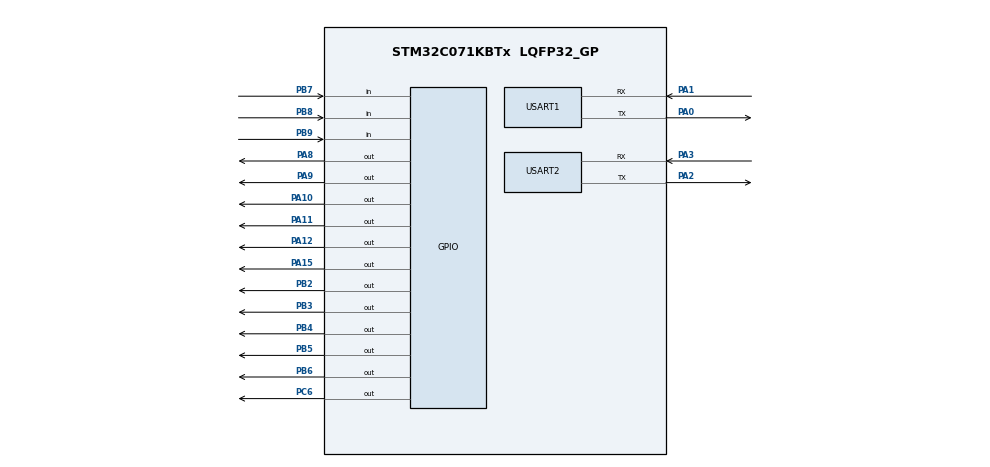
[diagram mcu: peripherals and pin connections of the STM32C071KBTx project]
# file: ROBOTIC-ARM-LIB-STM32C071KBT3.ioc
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Mcu.Family=STM32C0
Mcu.Name=STM32C071KBTx
Mcu.Package=LQFP32_GP
NVIC.USART1_IRQn=true\:0\:0\:false\:true\:true\:1\:true\:true\:true
PA0.Mode=Asynchronous
PA0.Signal=USART1_TX
PA1.Mode=Asynchronous
PA1.Signal=USART1_RX
PA10\ [PA12].Signal=GPIO_Output
PA11\ [PA9].Signal=GPIO_Output
PA12\ [PA10].Signal=GPIO_Output
PA13.Mode=Serial_Wire
PA13.Signal=DEBUG_SWDIO
PA14-BOOT0.Mode=Serial_Wire
PA14-BOOT0.Signal=DEBUG_SWCLK
PA15.Signal=GPIO_Output
PA2.Mode=Asynchronous
PA2.Signal=USART2_TX
PA3.Mode=Asynchronous
PA3.Signal=USART2_RX
PA8.Signal=GPIO_Output
PA9\ [PA11].Signal=GPIO_Output
PB2.Signal=GPIO_Output
PB3.Signal=GPIO_Output
PB4.Signal=GPIO_Output
PB5.Signal=GPIO_Output
PB6.Signal=GPIO_Output
PB7.GPIO_PuPd=GPIO_PULLUP
PB7.Signal=GPIO_Input
PB8.GPIO_PuPd=GPIO_PULLUP
PB8.Signal=GPIO_Input
PB9.GPIO_PuPd=GPIO_PULLUP
PB9.Signal=GPIO_Input
PC14-OSCX_IN(PC14).Mode=HSE-External-Clock-Source
PC14-OSCX_IN(PC14).Signal=RCC_OSCX_IN
PC6.Signal=GPIO_Output
ProjectManager.HeapSize=0x200
ProjectManager.StackSize=0x400
ProjectManager.TargetToolchain=STM32CubeIDE
RCC.ADCFreq_Value=48000000
RCC.AHBFreq_Value=48000000
RCC.CortexFreq_Value=48000000
RCC.EXTERNAL_CLOCK_VALUE=12288000
RCC.HCLKFreq_Value=48000000
RCC.HSE_VALUE=48000000
RCC.HSI48_VALUE=48000000
RCC.HSI_VALUE=48000000
RCC.LSE_VALUE=32768
RCC.SYSCLKFreq_VALUE=48000000
RCC.SYSCLKSource=RCC_SYSCLKSOURCE_HSIUSB48
TIM1.Prescaler=47
USART1.DMADisableonRxErrorParam=ADVFEATURE_DMA_DISABLEONRXERROR
USART1.OverrunDisableParam=ADVFEATURE_OVERRUN_DISABLE
USART1.VirtualMode-Asynchronous=VM_ASYNC
USART2.VirtualMode-Asynchronous=VM_ASYNC
VP_TIM1_VS_ClockSourceINT.Mode=Internal
board=custom

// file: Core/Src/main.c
/* USER CODE BEGIN Header */
/**
  ******************************************************************************
  * @file           : main.c
  * @brief          : Main program body
  ******************************************************************************
  * @attention
  *
  * Copyright (c) 2025 STMicroelectronics.
  * All rights reserved.
  *
  * This software is licensed under terms that can be found in the LICENSE file
  * in the root directory of this software component.
  * If no LICENSE file comes with this software, it is provided AS-IS.
  *
  ******************************************************************************
  */
/* USER CODE END Header */
#include "main.h"

/* USER CODE BEGIN Includes */
#include "motor_defines.h"
#include "tmc2209.h"
#include <string.h>  // For strlen() used in UART transmissions
#include <stdio.h>   // For snprintf() in the UART callback
/* USER CODE END Includes */

TIM_HandleTypeDef htim1;

UART_HandleTypeDef huart1;
UART_HandleTypeDef huart2;

/* USER CODE BEGIN PV */

// Variables for UART command reception:
volatile char rx_buffer[256] = {0};      // Temporary receive buffer
volatile char temp_buffer[1] = {0};      // Buffer for one received byte
volatile uint16_t idx = 0;               // Index into rx_buffer

// New variables to offload processing from the ISR:
volatile uint8_t commandReady = 0;       // Flag: command received and ready to process
volatile char commandBuffer[256] = {0};  // Buffer for the complete command

// Motor Objects:
stepper_driver_t M1_DRIVER, M2_DRIVER, M3_DRIVER;

/* USER CODE END PV */

void SystemClock_Config(void);
static void MX_GPIO_Init(void);
static void MX_USART1_UART_Init(void);
static void MX_TIM1_Init(void);
static void MX_USART2_UART_Init(void);
static void MX_NVIC_Init(void);

int main(void)
{

  /* MCU Configuration--------------------------------------------------------*/

  /* Reset of all peripherals, Initializes the Flash interface and the Systick. */
  HAL_Init();

  /* Configure the system clock */
  SystemClock_Config();

  /* Initialize all configured peripherals */
  MX_GPIO_Init();
  MX_USART1_UART_Init();
  MX_TIM1_Init();
  MX_USART2_UART_Init();

  /* Initialize interrupts */
  MX_NVIC_Init();
  /* USER CODE BEGIN 2 */
  HAL_TIM_Base_Start(&htim1);
  stepper_init(&M1_DRIVER,
			   M1_EN_PORT, M1_EN_PIN,
		       GLOBAL_MS1_PORT, GLOBAL_MS1_PIN,
			   GLOBAL_MS2_PORT, GLOBAL_MS2_PIN,
			   M1_STEP_PORT, M1_STEP_PIN,
			   M1_DIR_PORT, M1_DIR_PIN,
		       M2_ENDSTOP_PORT, M2_ENDSTOP_PIN);
  stepper_init(&M2_DRIVER,
		   	   M2_EN_PORT, M2_EN_PIN,
			   GLOBAL_MS1_PORT, GLOBAL_MS1_PIN,
			   GLOBAL_MS2_PORT, GLOBAL_MS2_PIN,
			   M2_STEP_PORT, M2_STEP_PIN,
			   M2_DIR_PORT, M2_DIR_PIN,
			   M2_ENDSTOP_PORT, M2_ENDSTOP_PIN);
  stepper_init(&M3_DRIVER,
		       M3_EN_PORT, M3_EN_PIN,
		       GLOBAL_MS1_PORT, GLOBAL_MS1_PIN,
		       GLOBAL_MS2_PORT, GLOBAL_MS2_PIN,
		       M3_STEP_PORT, M3_STEP_PIN,
		       M3_DIR_PORT, M3_DIR_PIN,
		       M3_ENDSTOP_PORT, M3_ENDSTOP_PIN);

  const char debug_msg[] = "STARTING UP!!!\n";
  HAL_UART_Transmit(&huart1, (uint8_t*)debug_msg, strlen(debug_msg), HAL_MAX_DELAY);
  HAL_UART_Receive_IT(&huart1, (uint8_t*)temp_buffer, 1);
  stepper_enable(&M1_DRIVER);
  stepper_enable(&M2_DRIVER);
  stepper_enable(&M3_DRIVER);

  HAL_GPIO_WritePin(GPIOB, GPIO_PIN_2,GPIO_PIN_SET);

  stepper_home(&M1_DRIVER, &M2_DRIVER, &M3_DRIVER);

  /* USER CODE END 2 */

  /* Infinite loop */
  /* USER CODE BEGIN WHILE */
  while (1)
  {
	 if(commandReady)
	 {
	   stepper_process_command(&M1_DRIVER, &M3_DRIVER, commandBuffer);
	   commandReady = 0; // Clear the flagM1_DRIVER
	 }
    /* USER CODE END WHILE */

  }
}

void SystemClock_Config(void)
{
  RCC_OscInitTypeDef RCC_OscInitStruct = {0};
  RCC_ClkInitTypeDef RCC_ClkInitStruct = {0};

  __HAL_FLASH_SET_LATENCY(FLASH_LATENCY_1);

  /** Initializes the RCC Oscillators according to the specified parameters
  * in the RCC_OscInitTypeDef structure.
  */
  RCC_OscInitStruct.OscillatorType = RCC_OSCILLATORTYPE_HSI48;
  RCC_OscInitStruct.HSI48State = RCC_HSI48_ON;

  if (HAL_RCC_OscConfig(&RCC_OscInitStruct) != HAL_OK)
  {
    Error_Handler();
  }

  /** Initializes the CPU, AHB and APB buses clocks
  */
  RCC_ClkInitStruct.ClockType = RCC_CLOCKTYPE_HCLK|RCC_CLOCKTYPE_SYSCLK
                              |RCC_CLOCKTYPE_PCLK1;
  RCC_ClkInitStruct.SYSCLKSource = RCC_SYSCLKSOURCE_HSIUSB48;
  RCC_ClkInitStruct.SYSCLKDivider = RCC_SYSCLK_DIV1;
  RCC_ClkInitStruct.AHBCLKDivider = RCC_HCLK_DIV1;
  RCC_ClkInitStruct.APB1CLKDivider = RCC_APB1_DIV1;

  if (HAL_RCC_ClockConfig(&RCC_ClkInitStruct, FLASH_LATENCY_1) != HAL_OK)
  {
    Error_Handler();
  }
}

/**
  * @brief NVIC Configuration.
  * @retval None
  */
static void MX_NVIC_Init(void)
{
  /* USART1_IRQn interrupt configuration */
  HAL_NVIC_SetPriority(USART1_IRQn, 0, 0);
  HAL_NVIC_EnableIRQ(USART1_IRQn);
}

static void MX_TIM1_Init(void)
{

  TIM_ClockConfigTypeDef sClockSourceConfig = {0};
  TIM_MasterConfigTypeDef sMasterConfig = {0};

  htim1.Instance = TIM1;
  htim1.Init.Prescaler = 47;
  htim1.Init.CounterMode = TIM_COUNTERMODE_UP;
  htim1.Init.Period = 65535;
  htim1.Init.ClockDivision = TIM_CLOCKDIVISION_DIV1;
  htim1.Init.RepetitionCounter = 0;
  htim1.Init.AutoReloadPreload = TIM_AUTORELOAD_PRELOAD_DISABLE;
  if (HAL_TIM_Base_Init(&htim1) != HAL_OK)
  {
    Error_Handler();
  }
  sClockSourceConfig.ClockSource = TIM_CLOCKSOURCE_INTERNAL;
  if (HAL_TIM_ConfigClockSource(&htim1, &sClockSourceConfig) != HAL_OK)
  {
    Error_Handler();
  }
  sMasterConfig.MasterOutputTrigger = TIM_TRGO_RESET;
  sMasterConfig.MasterOutputTrigger2 = TIM_TRGO2_RESET;
  sMasterConfig.MasterSlaveMode = TIM_MASTERSLAVEMODE_DISABLE;
  if (HAL_TIMEx_MasterConfigSynchronization(&htim1, &sMasterConfig) != HAL_OK)
  {
    Error_Handler();
  }

}

static void MX_USART1_UART_Init(void)
{

  huart1.Instance = USART1;
  huart1.Init.BaudRate = 115200;
  huart1.Init.WordLength = UART_WORDLENGTH_8B;
  huart1.Init.StopBits = UART_STOPBITS_1;
  huart1.Init.Parity = UART_PARITY_NONE;
  huart1.Init.Mode = UART_MODE_TX_RX;
  huart1.Init.HwFlowCtl = UART_HWCONTROL_NONE;
  huart1.Init.OverSampling = UART_OVERSAMPLING_16;
  huart1.Init.OneBitSampling = UART_ONE_BIT_SAMPLE_DISABLE;
  huart1.Init.ClockPrescaler = UART_PRESCALER_DIV1;
  huart1.AdvancedInit.AdvFeatureInit = UART_ADVFEATURE_RXOVERRUNDISABLE_INIT|UART_ADVFEATURE_DMADISABLEONERROR_INIT;
  huart1.AdvancedInit.OverrunDisable = UART_ADVFEATURE_OVERRUN_DISABLE;
  huart1.AdvancedInit.DMADisableonRxError = UART_ADVFEATURE_DMA_DISABLEONRXERROR;
  if (HAL_UART_Init(&huart1) != HAL_OK)
  {
    Error_Handler();
  }
  if (HAL_UARTEx_SetTxFifoThreshold(&huart1, UART_TXFIFO_THRESHOLD_1_8) != HAL_OK)
  {
    Error_Handler();
  }
  if (HAL_UARTEx_SetRxFifoThreshold(&huart1, UART_RXFIFO_THRESHOLD_1_8) != HAL_OK)
  {
    Error_Handler();
  }
  if (HAL_UARTEx_DisableFifoMode(&huart1) != HAL_OK)
  {
    Error_Handler();
  }

}

static void MX_USART2_UART_Init(void)
{

  huart2.Instance = USART2;
  huart2.Init.BaudRate = 115200;
  huart2.Init.WordLength = UART_WORDLENGTH_8B;
  huart2.Init.StopBits = UART_STOPBITS_1;
  huart2.Init.Parity = UART_PARITY_NONE;
  huart2.Init.Mode = UART_MODE_TX_RX;
  huart2.Init.HwFlowCtl = UART_HWCONTROL_NONE;
  huart2.Init.OverSampling = UART_OVERSAMPLING_16;
  huart2.Init.OneBitSampling = UART_ONE_BIT_SAMPLE_DISABLE;
  huart2.Init.ClockPrescaler = UART_PRESCALER_DIV1;
  huart2.AdvancedInit.AdvFeatureInit = UART_ADVFEATURE_NO_INIT;
  if (HAL_UART_Init(&huart2) != HAL_OK)
  {
    Error_Handler();
  }
  if (HAL_UARTEx_SetTxFifoThreshold(&huart2, UART_TXFIFO_THRESHOLD_1_8) != HAL_OK)
  {
    Error_Handler();
  }
  if (HAL_UARTEx_SetRxFifoThreshold(&huart2, UART_RXFIFO_THRESHOLD_1_8) != HAL_OK)
  {
    Error_Handler();
  }
  if (HAL_UARTEx_DisableFifoMode(&huart2) != HAL_OK)
  {
    Error_Handler();
  }

}

static void MX_GPIO_Init(void)
{
  GPIO_InitTypeDef GPIO_InitStruct = {0};

  /* GPIO Ports Clock Enable */
  __HAL_RCC_GPIOB_CLK_ENABLE();
  __HAL_RCC_GPIOC_CLK_ENABLE();
  __HAL_RCC_GPIOA_CLK_ENABLE();

  /*Configure GPIO pin Output Level */
  HAL_GPIO_WritePin(GPIOB, GPIO_PIN_2|GPIO_PIN_3|GPIO_PIN_4|GPIO_PIN_5
                          |GPIO_PIN_6, GPIO_PIN_RESET);

  /*Configure GPIO pin Output Level */
  HAL_GPIO_WritePin(GPIOA, GPIO_PIN_8|GPIO_PIN_9|GPIO_PIN_10|GPIO_PIN_11
                          |GPIO_PIN_12|GPIO_PIN_15, GPIO_PIN_RESET);

  /*Configure GPIO pin Output Level */
  HAL_GPIO_WritePin(GPIOC, GPIO_PIN_6, GPIO_PIN_RESET);

  /*Configure GPIO pins : PB9 PB7 PB8 */
  GPIO_InitStruct.Pin = GPIO_PIN_9|GPIO_PIN_7|GPIO_PIN_8;
  GPIO_InitStruct.Mode = GPIO_MODE_INPUT;
  GPIO_InitStruct.Pull = GPIO_PULLUP;
  HAL_GPIO_Init(GPIOB, &GPIO_InitStruct);

  /*Configure GPIO pins : PB2 PB3 PB4 PB5
                           PB6 */
  GPIO_InitStruct.Pin = GPIO_PIN_2|GPIO_PIN_3|GPIO_PIN_4|GPIO_PIN_5
                          |GPIO_PIN_6;
  GPIO_InitStruct.Mode = GPIO_MODE_OUTPUT_PP;
  GPIO_InitStruct.Pull = GPIO_NOPULL;
  GPIO_InitStruct.Speed = GPIO_SPEED_FREQ_LOW;
  HAL_GPIO_Init(GPIOB, &GPIO_InitStruct);

  /*Configure GPIO pins : PA8 PA9 PA10 PA11
                           PA12 PA15 */
  GPIO_InitStruct.Pin = GPIO_PIN_8|GPIO_PIN_9|GPIO_PIN_10|GPIO_PIN_11
                          |GPIO_PIN_12|GPIO_PIN_15;
  GPIO_InitStruct.Mode = GPIO_MODE_OUTPUT_PP;
  GPIO_InitStruct.Pull = GPIO_NOPULL;
  GPIO_InitStruct.Speed = GPIO_SPEED_FREQ_LOW;
  HAL_GPIO_Init(GPIOA, &GPIO_InitStruct);

  /*Configure GPIO pin : PC6 */
  GPIO_InitStruct.Pin = GPIO_PIN_6;
  GPIO_InitStruct.Mode = GPIO_MODE_OUTPUT_PP;
  GPIO_InitStruct.Pull = GPIO_NOPULL;
  GPIO_InitStruct.Speed = GPIO_SPEED_FREQ_LOW;
  HAL_GPIO_Init(GPIOC, &GPIO_InitStruct);

}

/* USER CODE BEGIN 4 */

void HAL_UART_RxCpltCallback(UART_HandleTypeDef *huart)
{
  if(huart->Instance == USART1)
  {
    // Store the received byte in rx_buffer.
    rx_buffer[idx++] = temp_buffer[0];
    // Re-arm UART reception for the next byte.
    HAL_UART_Receive_IT(&huart1, (uint8_t*)temp_buffer, 1);

    // If the received byte is a newline, the command is complete.
    if(temp_buffer[0] == '\n')
    {
      rx_buffer[idx - 1] = '\0';  // Replace newline with null terminator.

      // Construct an echo message and send it.
      uint8_t echo_msg[256] = {0};
      int len = snprintf((char*)echo_msg, sizeof(echo_msg), "ECHO: %s\r\n", rx_buffer);
      HAL_UART_Transmit(&huart1, echo_msg, len, HAL_MAX_DELAY);

      // Copy the complete command into commandBuffer and set the flag.
      memcpy((void*)commandBuffer, (void*)rx_buffer, idx);
      commandReady = 1;

      // Clear the receive buffer and reset the index.
      memset((void*)rx_buffer, 0, sizeof(rx_buffer));
      idx = 0;
    }
  }
}
/* USER CODE END 4 */

void Error_Handler(void)
{
  __disable_irq();
  while (1)
  {
  }
}
